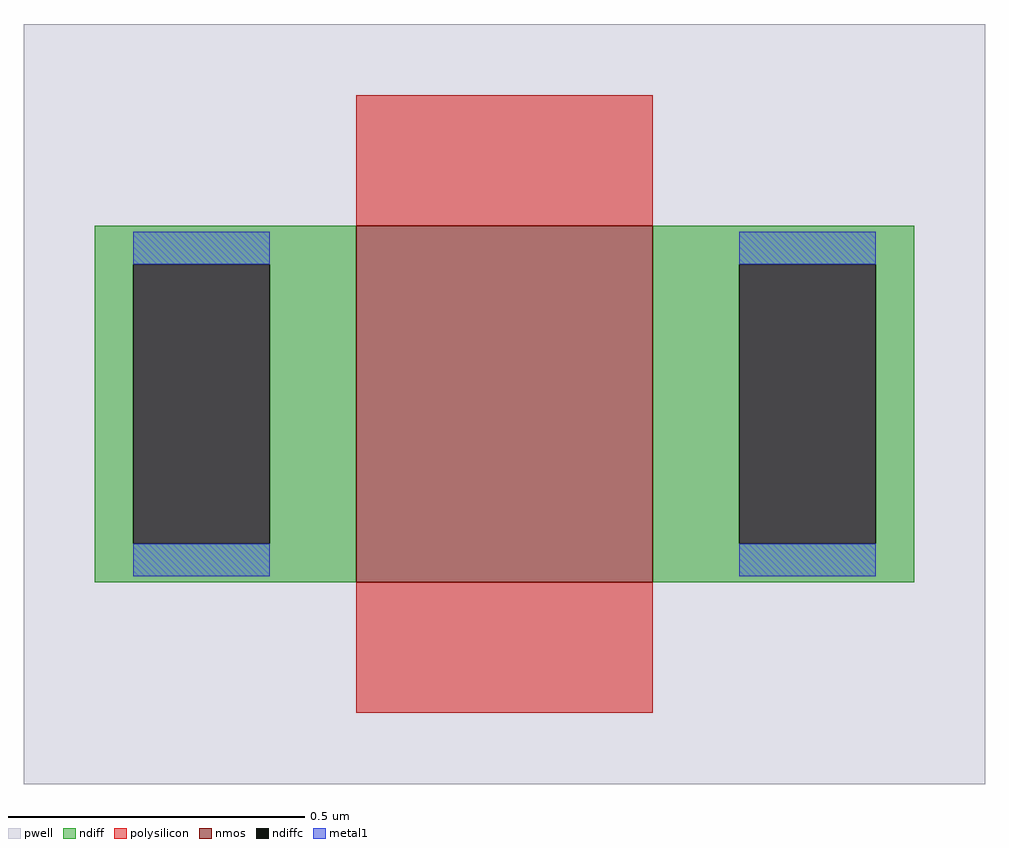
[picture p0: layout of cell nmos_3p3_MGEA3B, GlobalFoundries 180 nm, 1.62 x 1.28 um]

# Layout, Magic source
magic
tech gf180mcuC
magscale 1 10
<< pwell >>
rect -162 -128 162 128
<< nmos >>
rect -50 -60 50 60
<< ndiff >>
rect -138 47 -50 60
rect -138 -47 -125 47
rect -79 -47 -50 47
rect -138 -60 -50 -47
rect 50 47 138 60
rect 50 -47 79 47
rect 125 -47 138 47
rect 50 -60 138 -47
<< ndiffc >>
rect -125 -47 -79 47
rect 79 -47 125 47
<< polysilicon >>
rect -50 60 50 104
rect -50 -104 50 -60
<< metal1 >>
rect -125 47 -79 58
rect -125 -58 -79 -47
rect 79 47 125 58
rect 79 -58 125 -47
<< properties >>
string gencell nmos_3p3
string library gf180mcu
string parameters w 0.6 l 0.5 m 1 nf 1 diffcov 100 polycov 100 guard 0 glc 0 grc 0 gtc 0 gbc 0 tbcov 100 rlcov 100 topc 0 botc 0 poverlap 0 doverlap 1 lmin 0.28 wmin 0.22 full_metal 0 compatible {nmos_3p3 nmos_6p0 nmos_6p0_nat}
<< end >>
